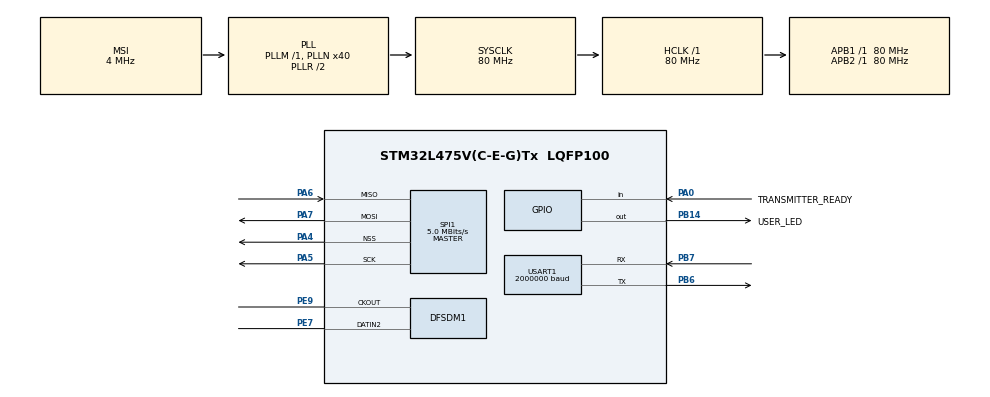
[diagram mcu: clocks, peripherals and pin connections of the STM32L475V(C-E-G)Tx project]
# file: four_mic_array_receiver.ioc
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DFSDM1.Divider=25
DFSDM1.DmaMode_reg_FIL0=ENABLE
DFSDM1.DmaMode_reg_FIL1=ENABLE
DFSDM1.FastMode_reg_FIL0=ENABLE
DFSDM1.FastMode_reg_FIL1=ENABLE
DFSDM1.Filter_regChannel_FIL0=DFSDM_CHANNEL_2
DFSDM1.Filter_regChannel_FIL1=DFSDM_CHANNEL_1
DFSDM1.Fosr_FIL0=200
DFSDM1.Fosr_FIL1=200
DFSDM1.Trigger_reg_FIL1=DFSDM_FILTER_SYNC_TRIGGER
DFSDM1.Type_spi_CH1=DFSDM_CHANNEL_SPI_FALLING
Dma.DFSDM1_FLT0.0.Direction=DMA_PERIPH_TO_MEMORY
Dma.DFSDM1_FLT0.0.Instance=DMA1_Channel4
Dma.DFSDM1_FLT0.0.MemDataAlignment=DMA_MDATAALIGN_WORD
Dma.DFSDM1_FLT0.0.MemInc=DMA_MINC_ENABLE
Dma.DFSDM1_FLT0.0.Mode=DMA_CIRCULAR
Dma.DFSDM1_FLT0.0.PeriphDataAlignment=DMA_PDATAALIGN_WORD
Dma.DFSDM1_FLT0.0.PeriphInc=DMA_PINC_DISABLE
Dma.DFSDM1_FLT0.0.Priority=DMA_PRIORITY_LOW
Dma.DFSDM1_FLT1.1.Direction=DMA_PERIPH_TO_MEMORY
Dma.DFSDM1_FLT1.1.Instance=DMA1_Channel5
Dma.DFSDM1_FLT1.1.MemDataAlignment=DMA_MDATAALIGN_WORD
Dma.DFSDM1_FLT1.1.MemInc=DMA_MINC_ENABLE
Dma.DFSDM1_FLT1.1.Mode=DMA_CIRCULAR
Dma.DFSDM1_FLT1.1.PeriphDataAlignment=DMA_PDATAALIGN_WORD
Dma.DFSDM1_FLT1.1.PeriphInc=DMA_PINC_DISABLE
Dma.DFSDM1_FLT1.1.Priority=DMA_PRIORITY_LOW
Dma.Request0=DFSDM1_FLT0
Dma.Request1=DFSDM1_FLT1
Mcu.Family=STM32L4
Mcu.Name=STM32L475V(C-E-G)Tx
Mcu.Package=LQFP100
NVIC.DMA1_Channel4_IRQn=true\:0\:0\:false\:false\:true\:false\:true\:true
NVIC.DMA1_Channel5_IRQn=true\:0\:0\:false\:false\:true\:false\:true\:true
NVIC.PriorityGroup=NVIC_PRIORITYGROUP_4
PA0.GPIO_Label=TRANSMITTER_READY
PA0.GPIO_Pull=GPIO_PULLDOWN
PA0.Signal=GPIO_Input
PA4.Mode=NSS_Signal_Hard_Output
PA4.Signal=SPI1_NSS
PA5.Mode=Full_Duplex_Master
PA5.Signal=SPI1_SCK
PA6.Mode=Full_Duplex_Master
PA6.Signal=SPI1_MISO
PA7.Mode=Full_Duplex_Master
PA7.Signal=SPI1_MOSI
PB14.GPIO_Label=USER_LED
PB14.Signal=GPIO_Output
PB6.Mode=Asynchronous
PB6.Signal=USART1_TX
PB7.Mode=Asynchronous
PB7.Signal=USART1_RX
PE7.Signal=S_DATAIN2DFSDM1
PE9.Signal=S_CKOUTDFSDM1
ProjectManager.HeapSize=0x200
ProjectManager.StackSize=0x400
ProjectManager.TargetToolchain=STM32CubeIDE
RCC.ADCFreq_Value=48000000
RCC.AHBFreq_Value=80000000
RCC.APB1Freq_Value=80000000
RCC.APB1TimFreq_Value=80000000
RCC.APB2Freq_Value=80000000
RCC.APB2TimFreq_Value=80000000
RCC.CortexFreq_Value=80000000
RCC.HCLKFreq_Value=80000000
RCC.HSE_VALUE=8000000
RCC.HSI_VALUE=16000000
RCC.LSE_VALUE=32768
RCC.MSI_VALUE=4000000
RCC.PLLN=40
RCC.PLLSAI1N=24
RCC.SYSCLKFreq_VALUE=80000000
RCC.SYSCLKSource=RCC_SYSCLKSOURCE_PLLCLK
RCC.USBFreq_Value=48000000
RCC.VCOOutputFreq_Value=160000000
SH.S_CKOUTDFSDM1.0=DFSDM1_CKOUT,PDM_SPI_input_from_ch2_and_internal_clock
SH.S_CKOUTDFSDM1.1=DFSDM1_CKOUT,PDM_SPI_Input_from_ch12_and_Internal_Clock
SH.S_DATAIN2DFSDM1.0=DFSDM1_DATIN2,PDM_SPI_input_from_ch2_and_internal_clock
SH.S_DATAIN2DFSDM1.1=DFSDM1_DATIN2,PDM_SPI_Input_from_ch12_and_Internal_Clock
SPI1.BaudRatePrescaler=SPI_BAUDRATEPRESCALER_16
SPI1.CLKPhase=SPI_PHASE_1EDGE
SPI1.CLKPolarity=SPI_POLARITY_LOW
SPI1.CRCCalculation=SPI_CRCCALCULATION_DISABLE
SPI1.CalculateBaudRate=5.0 MBits/s
SPI1.DataSize=SPI_DATASIZE_8BIT
SPI1.Direction=SPI_DIRECTION_2LINES
SPI1.FirstBit=SPI_FIRSTBIT_MSB
SPI1.Mode=SPI_MODE_MASTER
SPI1.NSS=SPI_NSS_HARD_OUTPUT
SPI1.VirtualNSS=VM_NSSHARD
SPI1.VirtualType=VM_MASTER
USART1.BaudRate=2000000
USART1.VirtualMode-Asynchronous=VM_ASYNC
board=B-L475E-IOT01A1

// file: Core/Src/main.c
/* USER CODE BEGIN Header */
/**
  ******************************************************************************
  * @file           : main.c
  * @brief        m
  *    : Board A receiver/master
  ******************************************************************************
  */
/* USER CODE END Header */
#include "main.h"

/* USER CODE BEGIN Includes */
#include "audio_frame.h"
#include "combined_audio_frame.h"
#include <stdint.h>
#include <string.h>
/* USER CODE END Includes */

DFSDM_Filter_HandleTypeDef hdfsdm1_filter0;
DFSDM_Filter_HandleTypeDef hdfsdm1_filter1;
DFSDM_Channel_HandleTypeDef hdfsdm1_channel1;
DFSDM_Channel_HandleTypeDef hdfsdm1_channel2;
DMA_HandleTypeDef hdma_dfsdm1_flt0;
DMA_HandleTypeDef hdma_dfsdm1_flt1;

SPI_HandleTypeDef hspi1;

UART_HandleTypeDef huart1;

/* USER CODE BEGIN PV */
volatile uint32_t spi_valid_frames = 0;
volatile uint32_t spi_timeouts = 0;
volatile uint32_t spi_transfer_errors = 0;
volatile uint32_t spi_bad_magic = 0;
volatile uint32_t spi_bad_length = 0;
volatile uint32_t spi_bad_checksum = 0;
volatile uint32_t spi_frame_id_gaps = 0;
volatile uint16_t spi_last_frame_id = 0;
volatile uint16_t spi_last_received_checksum = 0;
volatile uint16_t spi_last_expected_checksum = 0;
static uint32_t valid_frame_count = 0;
#define RECEIVER_STARTUP_DELAY_MS 250U
#define SPI_BAD_MAGIC_RECOVERY_THRESHOLD 32U
static uint32_t spi_bad_magic_streak = 0;

#define MIC_DMA_SAMPLES 1024U
#define MIC_HALF_SAMPLES (MIC_DMA_SAMPLES / 2U)
#define MIC_GAIN 4
static int32_t mic0_dma[MIC_DMA_SAMPLES];
static int32_t mic1_dma[MIC_DMA_SAMPLES];
static volatile uint8_t mic0_half_ready[2];
static volatile uint8_t mic1_half_ready[2];
#define LOCAL_AUDIO_QUEUE_DEPTH 4U
static int16_t local_audio_queue[LOCAL_AUDIO_QUEUE_DEPTH]
                         [AUDIO_FRAME_SAMPLES * AUDIO_CHANNELS];
static volatile uint8_t local_queue_head = 0;
static volatile uint8_t local_queue_tail = 0;
static int16_t latest_local_samples[AUDIO_FRAME_SAMPLES * AUDIO_CHANNELS];
static volatile uint32_t local_audio_underruns = 0;
static volatile uint32_t local_audio_overruns = 0;
static volatile uint32_t combined_audio_frames = 0;
static uint16_t combined_frame_id = 0;

/* USER CODE END PV */

void SystemClock_Config(void);
static void MX_GPIO_Init(void);
static void MX_DMA_Init(void);
static void MX_DFSDM1_Init(void);
static void MX_USART1_UART_Init(void);
static void MX_SPI1_Init(void);
/* USER CODE BEGIN PFP */
static int ReceiveAudioFrame_SPI(AudioFrame_t *frame);
static void ProcessRemoteAudioFrame(AudioFrame_t *frame);
static int16_t ClampAudio(int32_t value);
static void ProcessLocalMicHalf(uint32_t offset);
static void ServiceLocalMicrophones(void);
static void TakeLocalAudioFrame(int16_t *samples);
static void BuildAndForwardCombinedFrame(const AudioFrame_t *remote_frame);
static void RecoverSPI1(void);
static int TransmitterReady(void);
/* USER CODE END PFP */

/* USER CODE BEGIN 0 */

/* Receive one complete frame using hardware SPI1 NSS on PA4. */
static int ReceiveAudioFrame_SPI(AudioFrame_t *frame)
{
    static uint8_t clock_bytes[AUDIO_FRAME_TOTAL_BYTES] = {0};
    HAL_StatusTypeDef status;

    status = HAL_SPI_TransmitReceive(
        &hspi1,
        clock_bytes,
        (uint8_t *)frame,
        AUDIO_FRAME_TOTAL_BYTES,
        100
    );
    if (status != HAL_OK)
    {
        if (status == HAL_TIMEOUT)
        {
            spi_timeouts++;
        }
        else
        {
            spi_transfer_errors++;
        }
        return 0;
    }

    if (frame->magic0 != AUDIO_FRAME_MAGIC_0 ||
        frame->magic1 != AUDIO_FRAME_MAGIC_1)
    {
        spi_bad_magic++;
        spi_bad_magic_streak++;
        if (spi_bad_magic_streak >= SPI_BAD_MAGIC_RECOVERY_THRESHOLD)
        {
            RecoverSPI1();
            spi_bad_magic_streak = 0;
            HAL_Delay(1);
        }
        return 0;
    }

    spi_bad_magic_streak = 0;

    if (frame->payload_size != AUDIO_PAYLOAD_BYTES)
    {
        spi_bad_length++;
        return 0;
    }

    uint16_t expected_checksum = audio_checksum_u8(
        (uint8_t *)frame,
        AUDIO_FRAME_TOTAL_BYTES - AUDIO_FRAME_CRC_BYTES
    );
    spi_last_frame_id = frame->frame_id;
    spi_last_received_checksum = frame->checksum;
    spi_last_expected_checksum = expected_checksum;

    if (frame->checksum != expected_checksum)
    {
        spi_bad_checksum++;
        return 0;
    }

    spi_valid_frames++;
    return 1;
}

/*
 * Placeholder for using the received Board B audio.
 */
static int16_t ClampAudio(int32_t value)
{
    if (value > 32767) return 32767;
    if (value < -32768) return -32768;
    return (int16_t)value;
}

static void ProcessLocalMicHalf(uint32_t offset)
{
    /* Each DMA half contains 512 samples, enough for two 256-sample frames. */
    for (uint32_t base = 0; base < MIC_HALF_SAMPLES; base += AUDIO_FRAME_SAMPLES)
    {
        uint8_t next_head = (uint8_t)((local_queue_head + 1U) % LOCAL_AUDIO_QUEUE_DEPTH);
        if (next_head == local_queue_tail)
        {
            local_audio_overruns++;
            continue;
        }
        int16_t *local_frame = local_audio_queue[local_queue_head];
        for (uint32_t i = 0; i < AUDIO_FRAME_SAMPLES; i++)
        {
            uint32_t index = offset + base + i;
            local_frame[2U * i] =
                ClampAudio((mic0_dma[index] >> 8) * MIC_GAIN);
            local_frame[2U * i + 1U] =
                ClampAudio((mic1_dma[index] >> 8) * MIC_GAIN);
        }
        memcpy(latest_local_samples, local_frame, sizeof(latest_local_samples));
        local_queue_head = next_head;
    }
}

static void TakeLocalAudioFrame(int16_t *samples)
{
    if (local_queue_tail != local_queue_head)
    {
        memcpy(samples, local_audio_queue[local_queue_tail],
               sizeof(latest_local_samples));
        local_queue_tail = (uint8_t)((local_queue_tail + 1U) % LOCAL_AUDIO_QUEUE_DEPTH);
    }
    else
    {
        memcpy(samples, latest_local_samples, sizeof(latest_local_samples));
        local_audio_underruns++;
    }
}

/* Re-arm the master peripheral after a slave was unplugged mid-transaction. */
static void RecoverSPI1(void)
{
    HAL_SPI_DeInit(&hspi1);
    HAL_Delay(1);
    MX_SPI1_Init();
}

static int TransmitterReady(void)
{
    return HAL_GPIO_ReadPin(TRANSMITTER_READY_GPIO_Port,
                            TRANSMITTER_READY_Pin) == GPIO_PIN_SET;
}

static void ServiceLocalMicrophones(void)
{
    if (mic0_half_ready[0] && mic1_half_ready[0])
    {
        mic0_half_ready[0] = 0;
        mic1_half_ready[0] = 0;
        ProcessLocalMicHalf(0);
    }
    if (mic0_half_ready[1] && mic1_half_ready[1])
    {
        mic0_half_ready[1] = 0;
        mic1_half_ready[1] = 0;
        ProcessLocalMicHalf(MIC_HALF_SAMPLES);
    }
}

static void BuildAndForwardCombinedFrame(const AudioFrame_t *remote_frame)
{
    static CombinedAudioFrame_t combined;
    int16_t local_samples[AUDIO_FRAME_SAMPLES * AUDIO_CHANNELS];

    TakeLocalAudioFrame(local_samples);

    combined.magic0 = COMBINED_AUDIO_MAGIC_0;
    combined.magic1 = COMBINED_AUDIO_MAGIC_1;
    combined.frame_id = combined_frame_id++;
    combined.payload_size = COMBINED_AUDIO_PAYLOAD_BYTES;

    for (uint32_t i = 0; i < AUDIO_FRAME_SAMPLES; i++)
    {
        /* Channels 0/1 are transmitter mics; 2/3 are receiver mics. */
        combined.samples[4U * i] = remote_frame->samples[2U * i];
        combined.samples[4U * i + 1U] = remote_frame->samples[2U * i + 1U];
        combined.samples[4U * i + 2U] = local_samples[2U * i];
        combined.samples[4U * i + 3U] = local_samples[2U * i + 1U];
    }

    combined.checksum = audio_checksum_u8(
        (uint8_t *)&combined,
        COMBINED_AUDIO_TOTAL_BYTES - COMBINED_AUDIO_CRC_BYTES);

    if (HAL_UART_Transmit(&huart1, (uint8_t *)&combined,
                          COMBINED_AUDIO_TOTAL_BYTES, 100) == HAL_OK)
    {
        combined_audio_frames++;
    }
}

static void ProcessRemoteAudioFrame(AudioFrame_t *frame)
{
    valid_frame_count++;
    if ((valid_frame_count % 16U) == 0U)
    {
        HAL_GPIO_TogglePin(USER_LED_GPIO_Port, USER_LED_Pin);
    }
    BuildAndForwardCombinedFrame(frame);
}

void HAL_DFSDM_FilterRegConvHalfCpltCallback(DFSDM_Filter_HandleTypeDef *hdfsdm_filter)
{
    if (hdfsdm_filter == &hdfsdm1_filter0) mic0_half_ready[0] = 1;
    if (hdfsdm_filter == &hdfsdm1_filter1) mic1_half_ready[0] = 1;
}

void HAL_DFSDM_FilterRegConvCpltCallback(DFSDM_Filter_HandleTypeDef *hdfsdm_filter)
{
    if (hdfsdm_filter == &hdfsdm1_filter0) mic0_half_ready[1] = 1;
    if (hdfsdm_filter == &hdfsdm1_filter1) mic1_half_ready[1] = 1;
}

/* USER CODE END 0 */

int main(void)
{

  /* USER CODE BEGIN 1 */
  AudioFrame_t rx_frame;
  uint16_t expected_frame_id = 0;
  /* USER CODE END 1 */

  /* MCU Configuration--------------------------------------------------------*/

  /* Reset of all peripherals, Initializes the Flash interface and the Systick. */
  HAL_Init();

  /* Configure the system clock */
  SystemClock_Config();

  /* Initialize all configured peripherals */
  MX_GPIO_Init();
  MX_DMA_Init();
  MX_DFSDM1_Init();
  MX_USART1_UART_Init();
  MX_SPI1_Init();
  /* USER CODE BEGIN 2 */
  if (HAL_DFSDM_FilterRegularStart_DMA(&hdfsdm1_filter1, mic1_dma,
                                       MIC_DMA_SAMPLES) != HAL_OK)
  {
      Error_Handler();
  }
  if (HAL_DFSDM_FilterRegularStart_DMA(&hdfsdm1_filter0, mic0_dma,
                                       MIC_DMA_SAMPLES) != HAL_OK)
  {
      Error_Handler();
  }
  /* Let the transmitter boot and arm its SPI slave before we clock it. */
  HAL_Delay(RECEIVER_STARTUP_DELAY_MS);
  /*
   * Board A is the SPI master. It drives hardware NSS on PA4 low and
   * supplies SPI clocks,
   * and reads one complete frame from the transmitter slave.
   */
  /* USER CODE END 2 */

  /* Infinite loop */
  /* USER CODE BEGIN WHILE */

  while (1)
  {

    ServiceLocalMicrophones();

    /* Do not clock SPI while the transmitter is booting or recovering. */
    if (!TransmitterReady())
    {
        HAL_Delay(1);
        continue;
    }

    if (ReceiveAudioFrame_SPI(&rx_frame))
    {
        /*
         * Optional frame ID check.
         */
        if (rx_frame.frame_id != expected_frame_id)
        {
            /*
             * Frame skip/desync happened.
             * For now, resync the expected ID.
             */
            if (spi_valid_frames > 1U)
            {
                spi_frame_id_gaps +=
                    (uint16_t)(rx_frame.frame_id - expected_frame_id);
            }
            expected_frame_id = rx_frame.frame_id;
        }

        expected_frame_id++;

        ProcessRemoteAudioFrame(&rx_frame);
    }
    else
    {
        /*
         * Receive failed or the slave was not ready.
         * The next SPI transaction will retry the frame.
         */
    }

    /* The SPI transaction and UART forwarding determine the transfer rate. */

    /* USER CODE END WHILE */

  }
}

void SystemClock_Config(void)
{
  RCC_OscInitTypeDef RCC_OscInitStruct = {0};
  RCC_ClkInitTypeDef RCC_ClkInitStruct = {0};

  /** Configure the main internal regulator output voltage
  */
  if (HAL_PWREx_ControlVoltageScaling(PWR_REGULATOR_VOLTAGE_SCALE1) != HAL_OK)
  {
    Error_Handler();
  }

  /** Initializes the RCC Oscillators according to the specified parameters
  * in the RCC_OscInitTypeDef structure.
  */
  RCC_OscInitStruct.OscillatorType = RCC_OSCILLATORTYPE_MSI;
  RCC_OscInitStruct.MSIState = RCC_MSI_ON;
  RCC_OscInitStruct.MSICalibrationValue = 0;
  RCC_OscInitStruct.MSIClockRange = RCC_MSIRANGE_6;
  RCC_OscInitStruct.PLL.PLLState = RCC_PLL_ON;
  RCC_OscInitStruct.PLL.PLLSource = RCC_PLLSOURCE_MSI;
  RCC_OscInitStruct.PLL.PLLM = 1;
  RCC_OscInitStruct.PLL.PLLN = 40;
  RCC_OscInitStruct.PLL.PLLP = RCC_PLLP_DIV7;
  RCC_OscInitStruct.PLL.PLLQ = RCC_PLLQ_DIV2;
  RCC_OscInitStruct.PLL.PLLR = RCC_PLLR_DIV2;
  if (HAL_RCC_OscConfig(&RCC_OscInitStruct) != HAL_OK)
  {
    Error_Handler();
  }

  /** Initializes the CPU, AHB and APB buses clocks
  */
  RCC_ClkInitStruct.ClockType = RCC_CLOCKTYPE_HCLK|RCC_CLOCKTYPE_SYSCLK
                              |RCC_CLOCKTYPE_PCLK1|RCC_CLOCKTYPE_PCLK2;
  RCC_ClkInitStruct.SYSCLKSource = RCC_SYSCLKSOURCE_PLLCLK;
  RCC_ClkInitStruct.AHBCLKDivider = RCC_SYSCLK_DIV1;
  RCC_ClkInitStruct.APB1CLKDivider = RCC_HCLK_DIV1;
  RCC_ClkInitStruct.APB2CLKDivider = RCC_HCLK_DIV1;

  if (HAL_RCC_ClockConfig(&RCC_ClkInitStruct, FLASH_LATENCY_4) != HAL_OK)
  {
    Error_Handler();
  }
}

static void MX_DFSDM1_Init(void)
{

  hdfsdm1_filter0.Instance = DFSDM1_Filter0;
  hdfsdm1_filter0.Init.RegularParam.Trigger = DFSDM_FILTER_SW_TRIGGER;
  hdfsdm1_filter0.Init.RegularParam.FastMode = ENABLE;
  hdfsdm1_filter0.Init.RegularParam.DmaMode = ENABLE;
  hdfsdm1_filter0.Init.FilterParam.SincOrder = DFSDM_FILTER_FASTSINC_ORDER;
  hdfsdm1_filter0.Init.FilterParam.Oversampling = 200;
  hdfsdm1_filter0.Init.FilterParam.IntOversampling = 1;
  if (HAL_DFSDM_FilterInit(&hdfsdm1_filter0) != HAL_OK)
  {
    Error_Handler();
  }
  hdfsdm1_filter1.Instance = DFSDM1_Filter1;
  hdfsdm1_filter1.Init.RegularParam.Trigger = DFSDM_FILTER_SYNC_TRIGGER;
  hdfsdm1_filter1.Init.RegularParam.FastMode = ENABLE;
  hdfsdm1_filter1.Init.RegularParam.DmaMode = ENABLE;
  hdfsdm1_filter1.Init.FilterParam.SincOrder = DFSDM_FILTER_FASTSINC_ORDER;
  hdfsdm1_filter1.Init.FilterParam.Oversampling = 200;
  hdfsdm1_filter1.Init.FilterParam.IntOversampling = 1;
  if (HAL_DFSDM_FilterInit(&hdfsdm1_filter1) != HAL_OK)
  {
    Error_Handler();
  }
  hdfsdm1_channel1.Instance = DFSDM1_Channel1;
  hdfsdm1_channel1.Init.OutputClock.Activation = ENABLE;
  hdfsdm1_channel1.Init.OutputClock.Selection = DFSDM_CHANNEL_OUTPUT_CLOCK_SYSTEM;
  hdfsdm1_channel1.Init.OutputClock.Divider = 25;
  hdfsdm1_channel1.Init.Input.Multiplexer = DFSDM_CHANNEL_EXTERNAL_INPUTS;
  hdfsdm1_channel1.Init.Input.DataPacking = DFSDM_CHANNEL_STANDARD_MODE;
  hdfsdm1_channel1.Init.Input.Pins = DFSDM_CHANNEL_FOLLOWING_CHANNEL_PINS;
  hdfsdm1_channel1.Init.SerialInterface.Type = DFSDM_CHANNEL_SPI_FALLING;
  hdfsdm1_channel1.Init.SerialInterface.SpiClock = DFSDM_CHANNEL_SPI_CLOCK_INTERNAL;
  hdfsdm1_channel1.Init.Awd.FilterOrder = DFSDM_CHANNEL_FASTSINC_ORDER;
  hdfsdm1_channel1.Init.Awd.Oversampling = 1;
  hdfsdm1_channel1.Init.Offset = 0;
  hdfsdm1_channel1.Init.RightBitShift = 0x00;
  if (HAL_DFSDM_ChannelInit(&hdfsdm1_channel1) != HAL_OK)
  {
    Error_Handler();
  }
  hdfsdm1_channel2.Instance = DFSDM1_Channel2;
  hdfsdm1_channel2.Init.OutputClock.Activation = ENABLE;
  hdfsdm1_channel2.Init.OutputClock.Selection = DFSDM_CHANNEL_OUTPUT_CLOCK_SYSTEM;
  hdfsdm1_channel2.Init.OutputClock.Divider = 25;
  hdfsdm1_channel2.Init.Input.Multiplexer = DFSDM_CHANNEL_EXTERNAL_INPUTS;
  hdfsdm1_channel2.Init.Input.DataPacking = DFSDM_CHANNEL_STANDARD_MODE;
  hdfsdm1_channel2.Init.Input.Pins = DFSDM_CHANNEL_SAME_CHANNEL_PINS;
  hdfsdm1_channel2.Init.SerialInterface.Type = DFSDM_CHANNEL_SPI_RISING;
  hdfsdm1_channel2.Init.SerialInterface.SpiClock = DFSDM_CHANNEL_SPI_CLOCK_INTERNAL;
  hdfsdm1_channel2.Init.Awd.FilterOrder = DFSDM_CHANNEL_FASTSINC_ORDER;
  hdfsdm1_channel2.Init.Awd.Oversampling = 1;
  hdfsdm1_channel2.Init.Offset = 0;
  hdfsdm1_channel2.Init.RightBitShift = 0x00;
  if (HAL_DFSDM_ChannelInit(&hdfsdm1_channel2) != HAL_OK)
  {
    Error_Handler();
  }
  if (HAL_DFSDM_FilterConfigRegChannel(&hdfsdm1_filter0, DFSDM_CHANNEL_2, DFSDM_CONTINUOUS_CONV_ON) != HAL_OK)
  {
    Error_Handler();
  }
  if (HAL_DFSDM_FilterConfigRegChannel(&hdfsdm1_filter1, DFSDM_CHANNEL_1, DFSDM_CONTINUOUS_CONV_ON) != HAL_OK)
  {
    Error_Handler();
  }

}

static void MX_SPI1_Init(void)
{

  /* SPI1 parameter configuration*/
  hspi1.Instance = SPI1;
  hspi1.Init.Mode = SPI_MODE_MASTER;
  hspi1.Init.Direction = SPI_DIRECTION_2LINES;
  hspi1.Init.DataSize = SPI_DATASIZE_8BIT;
  hspi1.Init.CLKPolarity = SPI_POLARITY_LOW;
  hspi1.Init.CLKPhase = SPI_PHASE_1EDGE;
  hspi1.Init.NSS = SPI_NSS_HARD_OUTPUT;
  hspi1.Init.BaudRatePrescaler = SPI_BAUDRATEPRESCALER_16;
  hspi1.Init.FirstBit = SPI_FIRSTBIT_MSB;
  hspi1.Init.TIMode = SPI_TIMODE_DISABLE;
  hspi1.Init.CRCCalculation = SPI_CRCCALCULATION_DISABLE;
  hspi1.Init.CRCPolynomial = 7;
  hspi1.Init.CRCLength = SPI_CRC_LENGTH_DATASIZE;
  hspi1.Init.NSSPMode = SPI_NSS_PULSE_ENABLE;
  if (HAL_SPI_Init(&hspi1) != HAL_OK)
  {
    Error_Handler();
  }

}

static void MX_USART1_UART_Init(void)
{

  huart1.Instance = USART1;
  huart1.Init.BaudRate = 2000000;
  huart1.Init.WordLength = UART_WORDLENGTH_8B;
  huart1.Init.StopBits = UART_STOPBITS_1;
  huart1.Init.Parity = UART_PARITY_NONE;
  huart1.Init.Mode = UART_MODE_TX_RX;
  huart1.Init.HwFlowCtl = UART_HWCONTROL_NONE;
  huart1.Init.OverSampling = UART_OVERSAMPLING_16;
  huart1.Init.OneBitSampling = UART_ONE_BIT_SAMPLE_DISABLE;
  huart1.AdvancedInit.AdvFeatureInit = UART_ADVFEATURE_NO_INIT;
  if (HAL_UART_Init(&huart1) != HAL_OK)
  {
    Error_Handler();
  }

}

static void MX_DMA_Init(void)
{

  /* DMA controller clock enable */
  __HAL_RCC_DMA1_CLK_ENABLE();

  /* DMA interrupt init */
  /* DMA1_Channel4_IRQn interrupt configuration */
  HAL_NVIC_SetPriority(DMA1_Channel4_IRQn, 0, 0);
  HAL_NVIC_EnableIRQ(DMA1_Channel4_IRQn);
  /* DMA1_Channel5_IRQn interrupt configuration */
  HAL_NVIC_SetPriority(DMA1_Channel5_IRQn, 0, 0);
  HAL_NVIC_EnableIRQ(DMA1_Channel5_IRQn);

}

static void MX_GPIO_Init(void)
{
  GPIO_InitTypeDef GPIO_InitStruct = {0};

  /* GPIO Ports Clock Enable */
  __HAL_RCC_GPIOA_CLK_ENABLE();
  __HAL_RCC_GPIOE_CLK_ENABLE();
  __HAL_RCC_GPIOB_CLK_ENABLE();

  /*Configure GPIO pin Output Level */
  HAL_GPIO_WritePin(USER_LED_GPIO_Port, USER_LED_Pin, GPIO_PIN_RESET);

  /*Configure GPIO pin : TRANSMITTER_READY_Pin */
  GPIO_InitStruct.Pin = TRANSMITTER_READY_Pin;
  GPIO_InitStruct.Mode = GPIO_MODE_INPUT;
  GPIO_InitStruct.Pull = GPIO_NOPULL;
  HAL_GPIO_Init(TRANSMITTER_READY_GPIO_Port, &GPIO_InitStruct);

  /*Configure GPIO pin : USER_LED_Pin */
  GPIO_InitStruct.Pin = USER_LED_Pin;
  GPIO_InitStruct.Mode = GPIO_MODE_OUTPUT_PP;
  GPIO_InitStruct.Pull = GPIO_NOPULL;
  GPIO_InitStruct.Speed = GPIO_SPEED_FREQ_LOW;
  HAL_GPIO_Init(USER_LED_GPIO_Port, &GPIO_InitStruct);

}

void Error_Handler(void)
{
  __disable_irq();
  while (1)
  {
  }
}
